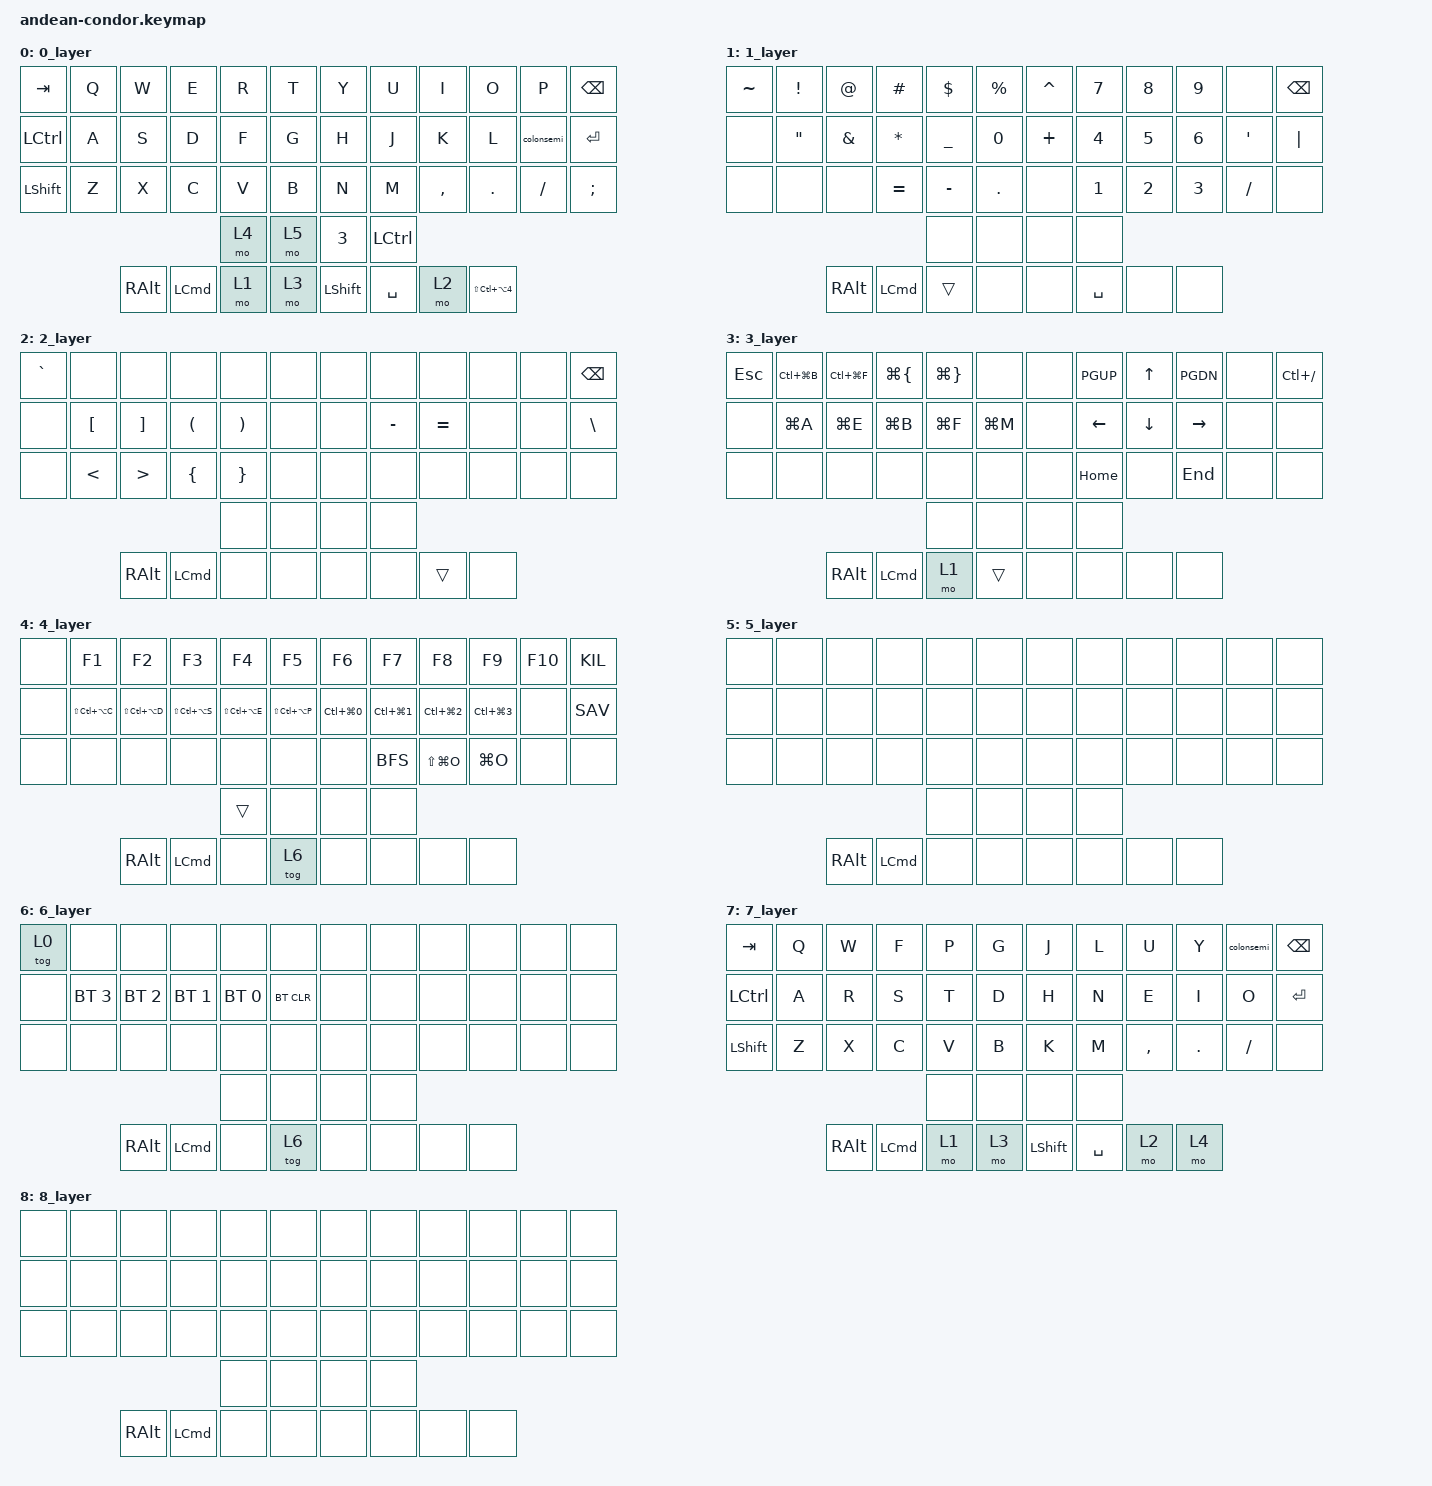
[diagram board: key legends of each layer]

/* -*- mode: dts; tab-width: 2; -*-
 * Copyright (c) 2021 The ZMK Contributors
 *
 * SPDX-License-Identifier: MIT
 */

#include <behaviors.dtsi>
#include <dt-bindings/zmk/keys.h>
#include <dt-bindings/zmk/bt.h>

#define DEFAULT 0
#define NUMBERS 1
#define SYMBOLS 2

/ {
macros {
ZMK_MACRO(KIL, wait-ms = <30>; tap-ms = <40>; bindings =  <&macro_press &kp LCTRL>, <&macro_tap &kp X>, <&macro_release &kp LCTRL>, <&macro_tap &kp K>;)
ZMK_MACRO(SAV, wait-ms = <30>; tap-ms = <40>; bindings =  <&macro_press &kp LCTRL>, <&macro_tap &kp X &kp S>, <&macro_release &kp LCTRL>;)
ZMK_MACRO(BFS, wait-ms = <30>; tap-ms = <40>; bindings =  <&macro_press &kp LCTRL>, <&macro_tap &kp X &kp B>, <&macro_release &kp LCTRL>;)
};
};

/ {
    behaviors {
      colonsemi: colonsemi {
        compatible = "zmk,behavior-mod-morph";
        label = "COLONSEMI";
        #binding-cells = <0>;
        bindings = <&kp COLON>, <&kp SEMI>;
        mods = <(MOD_LSFT|MOD_RSFT)>;
      };
   };
};

/ {
keymap {
compatible = "zmk,keymap"; 
0_layer {
 bindings = <
 &kp TAB   &kp Q    &kp W    &kp E    &kp R    &kp T        &kp Y    &kp U    &kp I    &kp O    &kp P    &kp BSPC  
&kp LCTRL   &kp A    &kp S    &kp D    &kp F    &kp G        &kp H    &kp J    &kp K    &kp L    &colonsemi   &kp RET 
&kp LSHFT   &kp Z    &kp X    &kp C    &kp V    &kp B        &kp N    &kp M    &kp COMMA    &kp DOT    &kp SLASH    &kp SEMI   
                    &mo 4   &mo 5        &kp N3   &kp LCTRL                      
          &kp RALT  &kp LCMD  &mo 1   &mo 3       &kp LSHFT   &kp SPACE   &mo 2    &kp LS(LC(LA(N4)))            
>;
};

1_layer {
 bindings = <
  &kp TILDE    &kp EXCL    &kp AT    &kp HASH    &kp DLLR    &kp PERCENT        &kp CARET    &kp N7    &kp N8    &kp N9    &none    &kp BSPC  
 &none    &kp DQT    &kp AMPS    &kp STAR    &kp UNDER    &kp N0        &kp PLUS    &kp N4    &kp N5    &kp N6    &kp SQT    &kp PIPE   
 &none    &none    &none    &kp EQUAL    &kp MINUS    &kp DOT        &none    &kp N1    &kp N2    &kp N3    &kp SLASH    &none   
                     &none    &none        &none    &none                       
          &kp RALT  &kp LCMD   &trans    &none        &none    &kp SPACE    &none    &none              
>;
};

2_layer {
 bindings = <
  &kp GRAVE    &none    &none    &none    &none    &none        &none    &none    &none    &none    &none    &kp BSPC  
 &none    &kp LBKT    &kp RBKT    &kp LPAR    &kp RPAR    &none        &none    &kp MINUS    &kp EQUAL    &none    &none    &kp BACKSLASH   
 &none    &kp LT    &kp GT    &kp LBRC    &kp RBRC    &none        &none    &none    &none    &none    &none    &none   
                     &none    &none        &none    &none                       
          &kp RALT  &kp LCMD   &none    &none        &none    &none    &trans    &none              
>;
};

3_layer {
 bindings = <
 &kp ESC  &kp LC(LG(B))   &kp LC(LG(F))   &kp LG(LBRC)   &kp LG(RBRC)    &none        &none   &kp PGUP    &kp UP   &kp PGDN    &none   &kp LC(SLASH)  
 &none   &kp LG(A)   &kp LG(E)   &kp LG(B)   &kp LG(F)   &kp LG(M)       &none    &kp LEFT    &kp DOWN    &kp RIGHT    &none    &none   
 &none    &none    &none    &none    &none    &none        &none   &kp HOME   &none   &kp END   &none    &none   
                     &none    &none        &none    &none                       
          &kp RALT  &kp LCMD  &mo 1    &trans        &none    &none    &none    &none              
>;
};

4_layer {
 bindings = <
  &none    &kp F1   &kp F2   &kp F3   &kp F4   &kp F5      &kp F6   &kp F7   &kp F8   &kp F9   &kp F10  &KIL  
 &none    &kp LS(LC(LA(C)))   &kp LS(LC(LA(D)))   &kp LS(LC(LA(S)))   &kp LS(LC(LA(E)))   &kp LS(LC(LA(P)))      &kp LC(LG(N0))  &kp LC(LG(N1))  &kp LC(LG(N2))  &kp LC(LG(N3))   &none   &SAV  
 &none    &none    &none    &none    &none    &none        &none   &BFS  &kp LS(LG(O))  &kp LG(O)   &none    &none   
                     &trans    &none        &none    &none                       
          &kp RALT  &kp LCMD   &none   &tog 6       &none    &none    &none    &none              
>;
};

5_layer {
 bindings = <
  &none    &none    &none    &none    &none    &none        &none    &none    &none    &none    &none    &none   
 &none    &none    &none    &none    &none    &none        &none    &none    &none    &none    &none    &none   
 &none    &none    &none    &none    &none    &none        &none    &none    &none    &none    &none    &none   
                     &none    &none        &none    &none                       
          &kp RALT  &kp LCMD   &none    &none        &none    &none    &none    &none              
>;
};

6_layer {
 bindings = <
 &tog 0   &none    &none    &none    &none    &none        &none    &none    &none    &none    &none    &none   
 &none   &bt BT_SEL 3  &bt BT_SEL 2  &bt BT_SEL 1  &bt BT_SEL 0  &bt BT_CLR       &none    &none    &none    &none    &none    &none   
 &none    &none    &none    &none    &none    &none        &none    &none    &none    &none    &none    &none   
                     &none    &none        &none    &none                       
          &kp RALT  &kp LCMD   &none   &tog 6       &none    &none    &none    &none              
>;
};

7_layer {
 bindings = <
 &kp TAB   &kp Q    &kp W    &kp F    &kp P    &kp G        &kp J    &kp L    &kp U    &kp Y    &colonsemi   &kp BSPC  
&kp LCTRL   &kp A    &kp R    &kp S    &kp T    &kp D        &kp H    &kp N    &kp E    &kp I    &kp O    &kp RET 
&kp LSHFT   &kp Z    &kp X    &kp C    &kp V    &kp B        &kp K    &kp M    &kp COMMA    &kp DOT    &kp SLASH    &none   
                     &none    &none        &none    &none                       
          &kp RALT  &kp LCMD   &mo 1   &mo 3      &kp LSHFT   &kp SPACE   &mo 2   &mo 4              
>;
};

8_layer {
 bindings = <
  &none    &none    &none    &none    &none    &none        &none    &none    &none    &none    &none    &none   
 &none    &none    &none    &none    &none    &none        &none    &none    &none    &none    &none    &none   
 &none    &none    &none    &none    &none    &none        &none    &none    &none    &none    &none    &none   
                     &none    &none        &none    &none                       
          &kp RALT  &kp LCMD   &none    &none        &none    &none    &none    &none              
>;
};
};
};
